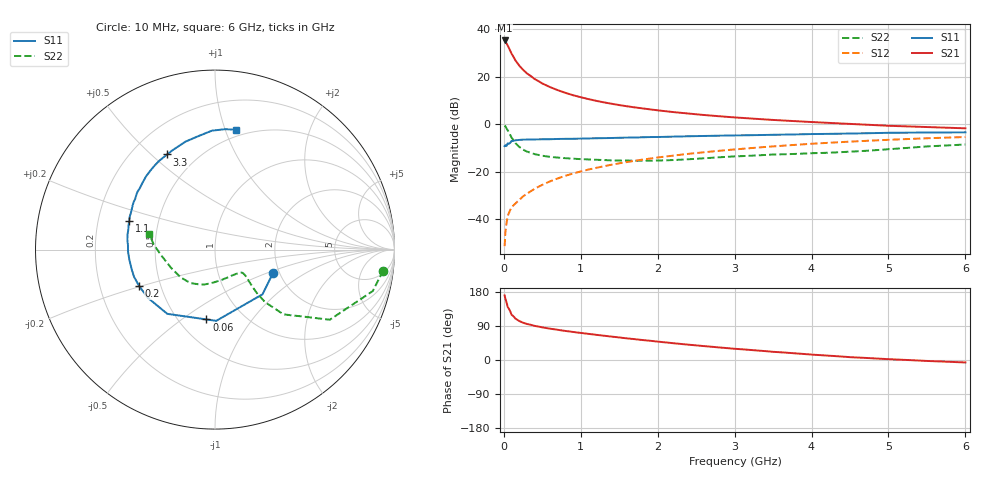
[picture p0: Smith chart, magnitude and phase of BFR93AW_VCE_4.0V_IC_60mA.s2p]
! Infineon Technologies  Discrete & RF Semiconductors
! BFR93AW
! VCE =  4.0 V,  IC =  60 mA
! Common Emitter S-Parameters:  Jan 2017
# GHz  S  MA  R  50
!  f  S11  S21  S12  S22
! GHz  MAG  ANG  MAG  ANG  MAG  ANG  MAG  ANG
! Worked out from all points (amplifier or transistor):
!   77 points, 10 MHz to 6 GHz, reference 50 ohm
!   highest |S21| = 35.4 dB at 10 MHz (marker M1)
!   |S21| within 3 dB of that: start of sweep to 63.44 MHz
!   unconditionally stable (mu >= 1): 384.8 MHz to 2.113 GHz
!   at 130 MHz: K = 0.67, MSG = 31.1 dB, |S12| = -34.0 dB
!   at 2.2 GHz: K = 0.99, MSG = 9.2 dB, |S12| = -13.2 dB
!   at 6 GHz: K = 0.90, MSG = 1.8 dB, |S12| = -5.3 dB
!   S11 on the Smith chart (normalised r, x): 10 MHz: 1.84, -0.56; 60 MHz: 0.68, -0.62; 200 MHz: 0.38, -0.20; 1.1 GHz: 0.34, +0.14; 3.3 GHz: 0.34, +0.56; 6 GHz: 0.44, +1.09
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0.01  0.3482 -22.4  58.66 170.4  0.0027 78.2  0.9445 -7.1
0.02  0.3635 -43.2  57.36 161.6  0.0052 80.7  0.909 -14.7
0.04  0.3597 -75.0  48.93 148.1  0.0093 67.9  0.7948 -25.1
0.05  0.3969 -89.0  45.99 139.8  0.0115 65.0  0.7497 -31.4
0.06  0.392 -97.0  42.66 136.9  0.0128 64.0  0.7028 -33.2
0.1  0.4458 -126.6  30.96 119.6  0.0178 61.3  0.5249 -43.4
0.15  0.4607 -144.4  22.38 109.3  0.0214 61.3  0.4026 -46.4
0.2  0.4691 -154.5  17.33 102.9  0.0255 65.0  0.3348 -46.0
0.25  0.4758 -161.5  14.12 98.3  0.0303 65.5  0.294 -44.8
0.3  0.4769 -166.3  11.86 95.1  0.0343 67.8  0.2665 -43.4
0.4  0.4806 -173.3  9.036 90.0  0.0436 70.6  0.2354 -41.4
0.5  0.4846 -178.7  7.268 86.1  0.053 71.3  0.2177 -40.3
0.7  0.4914 173.7  5.255 79.7  0.0723 72.9  0.199 -40.4
0.9  0.4954 167.3  4.11 74.0  0.0919 72.5  0.189 -43.0
1.1  0.5041 161.6  3.404 69.0  0.1112 71.9  0.1821 -47.0
1.5  0.5203 152.0  2.547 59.5  0.1505 69.5  0.1721 -58.3
2.1  0.5451 139.0  1.894 46.5  0.2092 64.4  0.1742 -81.0
3.1  0.5867 120.3  1.365 28.2  0.3049 54.6  0.2139 -115.3
3.3  0.5933 116.7  1.299 25.0  0.3237 52.5  0.2216 -121.0
4.1  0.6261 103.8  1.098 13.0  0.3976 43.8  0.2483 -144.6
5.1  0.6644 90.1  0.921 1.3  0.4789 32.5  0.3064 -175.7
6  0.6784 79.9  0.824 -6.5  0.5406 22.4  0.3759 166.7
